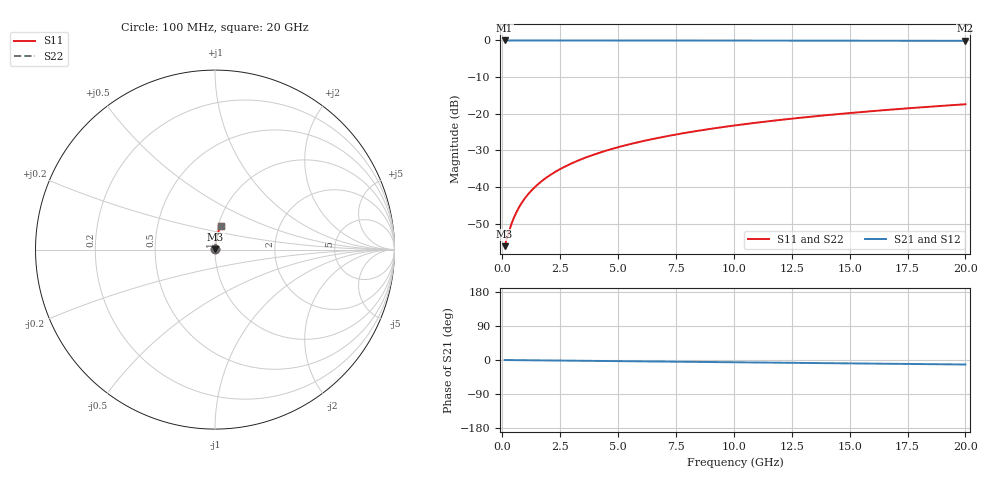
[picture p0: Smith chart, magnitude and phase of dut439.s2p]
! Touchstone file exported from HFSS 2026.1.0
!  File:  C:/ffzhzh/LocalFiles/Ansys_Project_Files/temp_train_TSV_439_1783021375_51716.aedt
!  Generated:  03:45:30 AM Jul  3, 2026
!  Design:  TSV
!  Project:  temp_train_TSV_439_1783021375_51716
! Variables:
!  h_bsmrdl = 2um
!  h_ox = 20um
!  h_rdl = 5um
!  h_sub = 88.52um
!  h_tmrdl = 5um
!  h_tsv = 88.52um
!  h_via = 3um
!  l_bsmrdl = 300um
!  l_sub = 405.42um
!  l_tmrdl = 200um
!  m_sub = 200um
!  pitch = 43.82um
!  r_tsv = 2.71um
!  s_tmrdl = 10um
!  w_bsmrdl = 18um
!  w_sub = 500um
!  w_tmrdl = 12um
!  x_tsv_center1 = 206um
!  x_tsv_center2 = 524um
!  x_tsv_center3 = 736um
!  x_tsv_center4 = 1054um
!  x_tsv_center5 = 1266um
!  x_tsv_center6 = 1584um
# GHz S MA R 50.000000
! Terminal data exported
! Port[1] = TSV1_1_T1
! Port[2] = TSV1_1_T2
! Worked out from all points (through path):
!   200 points, 100 MHz to 20 GHz, reference 50 ohm
!   highest |S21| = -0.01 dB at 100 MHz (marker M1); lowest = -0.1 dB at 20 GHz (marker M2)
!   group delay of S21, straight-line fit = 1.65 ps
!   lowest |S11| = -56.1 dB at 100 MHz (marker M3), VSWR 1.00, Z = 50.1 + j0.0712 ohm
!   |S11| at or under -10 dB: start of sweep to end of sweep
!   |S22| runs from -56.1 to -17.4 dB; largest |S21 - S12| = 2.1e-15
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0.1  0.001564 27.0  0.9986 -0.1  0.9986 -0.1  0.001564 27.0
! Gamma 0 0 0 0
! Port Impedance 50 0 50 0
0.3  0.002551 56.4  0.9986 -0.2  0.9986 -0.2  0.002551 56.4
0.4  0.003167 63.3  0.9986 -0.2  0.9986 -0.2  0.003167 63.3
0.5  0.003812 67.8  0.9986 -0.3  0.9986 -0.3  0.003812 67.8
0.6  0.004473 71.0  0.9986 -0.4  0.9986 -0.4  0.004473 71.0
0.7  0.005144 73.4  0.9986 -0.4  0.9986 -0.4  0.005144 73.4
0.9  0.006504 76.6  0.9985 -0.5  0.9985 -0.5  0.006504 76.6
1.2  0.008568 79.4  0.9985 -0.7  0.9985 -0.7  0.008568 79.4
1.4  0.009953 80.6  0.9985 -0.9  0.9985 -0.9  0.009953 80.6
1.7  0.01204 81.8  0.9984 -1.0  0.9984 -1.0  0.01204 81.8
2.2  0.01552 83.0  0.9983 -1.3  0.9983 -1.3  0.01552 83.0
2.8  0.01969 83.7  0.9982 -1.7  0.9982 -1.7  0.01969 83.7
3.5  0.02456 84.0  0.998 -2.1  0.998 -2.1  0.02456 84.0
4.2  0.02942 84.0  0.9978 -2.5  0.9978 -2.5  0.02942 84.0
5  0.03495 83.9  0.9975 -3.0  0.9975 -3.0  0.03495 83.9
5.9  0.04115 83.6  0.9971 -3.6  0.9971 -3.6  0.04115 83.6
6.8  0.04732 83.3  0.9967 -4.1  0.9967 -4.1  0.04732 83.3
8.3  0.05753 82.6  0.9959 -5.0  0.9959 -5.0  0.05753 82.6
10.1  0.06967 81.7  0.9948 -6.1  0.9948 -6.1  0.06967 81.7
13.4  0.09165 80.0  0.9926 -8.0  0.9926 -8.0  0.09165 80.0
16.7  0.1133 78.2  0.9899 -9.9  0.9899 -9.9  0.1133 78.2
20  0.1346 76.4  0.9869 -11.9  0.9869 -11.9  0.1346 76.4
